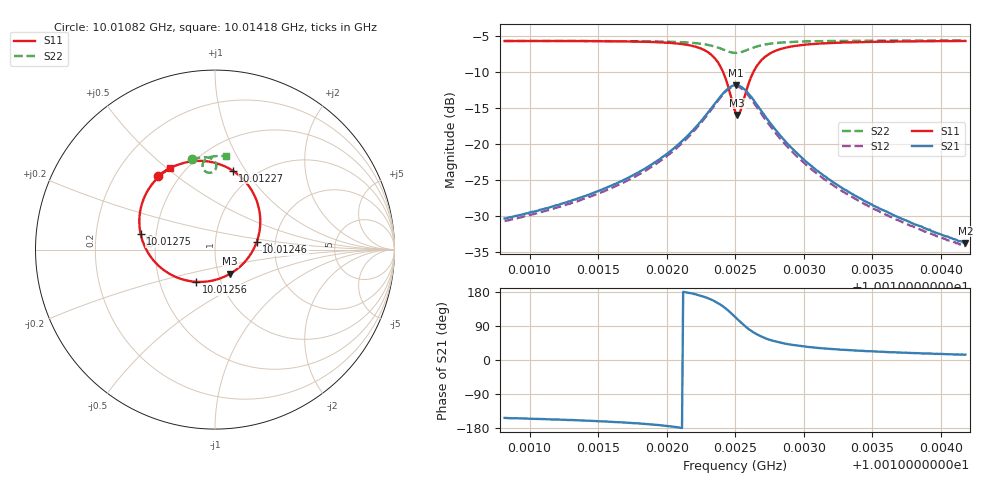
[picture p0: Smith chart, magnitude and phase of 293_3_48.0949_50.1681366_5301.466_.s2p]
#  HZ  S  RI  R  50.00
! Rohde & Schwarz Vector Network Analyzer
! Rohde-Schwarz,ZNB20-2Port,1311601062101988,3.16
! Created: UTC 12/23/2023, 4:04:00 AM
! freq[Hz]  re:S11  im:S11  re:S21  im:S21  re:S12  im:S12  re:S22  im:S22
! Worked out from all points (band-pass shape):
!   401 points, 10.01082 GHz to 10.01418 GHz, reference 50 ohm
!   highest |S21| = -11.84 dB at 10.01251 GHz (marker M1); lowest = -33.8 dB at 10.01418 GHz (marker M2)
!   |S21| within 3 dB of the highest: 10.01233 GHz to 10.01267 GHz (334.8 kHz wide, 0.00334 % of centre)
!   lowest |S11| = -16.0 dB at 10.01251 GHz (marker M3), VSWR 1.38, Z = 57 - j15.7 ohm
!   |S11| at or under -10 dB: 10.01241 GHz to 10.01263 GHz (221.3 kHz wide, 0.00221 % of centre)
!   |S22| runs from -7.4 to -5.6 dB; largest |S21 - S12| = 0.012
!   S11 on the Smith chart (normalised r, x): 10.01082 GHz: 0.38, +0.43; 10.01227 GHz: 0.79, +0.87; 10.01246 GHz: 1.60, +0.14; 10.01256 GHz: 0.76, -0.29; 10.01275 GHz: 0.41, +0.09; 10.01418 GHz: 0.41, +0.52
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1.0010819e10  -0.315 0.4124  -0.027 -0.0138  -0.0252 -0.0146  -0.1306 0.5033
1.0011381e10  -0.257 0.4504  -0.04 -0.0147  -0.0376 -0.0165  -0.0912 0.5116
1.0011675e10  -0.2083 0.4724  -0.0533 -0.0147  -0.0507 -0.0168  -0.0683 0.5141
1.0011944e10  -0.1325 0.4913  -0.077 -0.0112  -0.0734 -0.0149  -0.0437 0.5135
1.0012128e10  -0.0353 0.4906  -0.108 0.00119  -0.1046 -0.00522  -0.022 0.5081
1.0012271e10  0.0985 0.4396  -0.1483 0.0342  -0.1464 0.0246  -0.00217 0.4934
1.0012363e10  0.2129 0.3149  -0.1746 0.092  -0.1762 0.0799  0.0075 0.4707
1.0012414e10  0.2513 0.1836  -0.1745 0.1431  -0.1784 0.1332  0.00495 0.452
1.0012456e10  0.2321 0.0412  -0.1517 0.1936  -0.1572 0.1848  -0.00615 0.4368
1.0012498e10  0.1403 -0.0943  -0.1033 0.234  -0.1102 0.2262  -0.0252 0.4282
1.0012506e10  0.1133 -0.1162  -0.0912 0.2392  -0.0977 0.2317  -0.0298 0.4278
1.0012515e10  0.0851 -0.1344  -0.0793 0.2429  -0.0855 0.2357  -0.0342 0.4279
1.0012531e10  0.0234 -0.1625  -0.0545 0.2467  -0.0592 0.24  -0.0429 0.4298
1.0012565e10  -0.1044 -0.1797  -0.00544 0.2404  -0.0106 0.2336  -0.0568 0.4381
1.0012607e10  -0.239 -0.1428  0.0413 0.2136  0.0341 0.2069  -0.067 0.4532
1.0012649e10  -0.3298 -0.0744  0.0677 0.18  0.0609 0.1741  -0.0695 0.4682
1.001275e10  -0.4144 0.0874  0.0845 0.1135  0.0766 0.1111  -0.061 0.493
1.0012884e10  -0.4156 0.2207  0.0742 0.066  0.068 0.0658  -0.0439 0.5083
1.001306e10  -0.3846 0.3105  0.0579 0.0382  0.0534 0.0386  -0.0242 0.5163
1.0013304e10  -0.3444 0.3722  0.0427 0.0215  0.0394 0.0224  -0.00179 0.5204
1.0013623e10  -0.3031 0.4154  0.0309 0.0117  0.0286 0.0128  0.0235 0.5218
1.0014177e10  -0.2481 0.4562  0.0199 0.00502  0.0185 0.00586  0.063 0.5199
